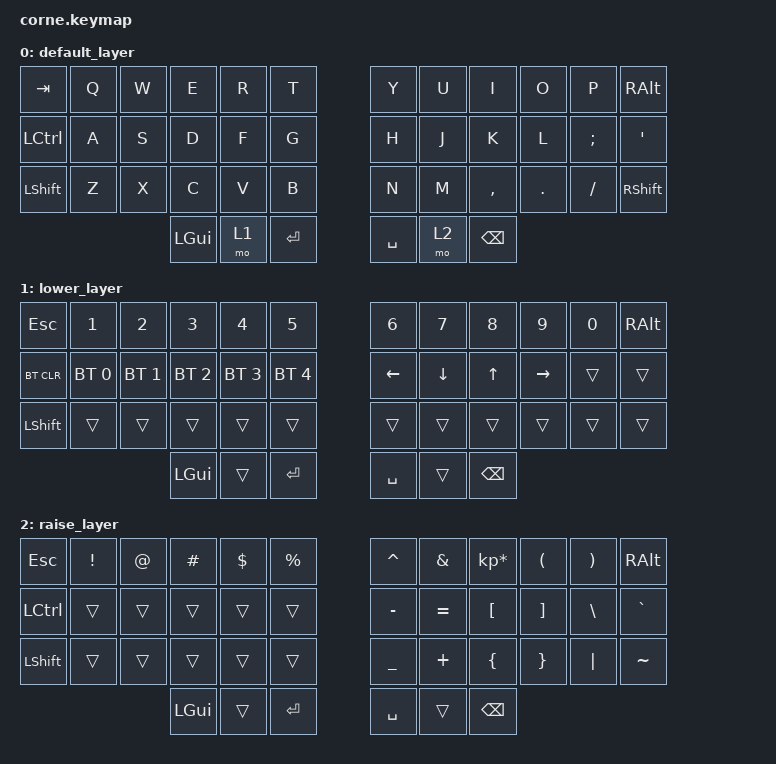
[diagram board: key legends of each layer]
/*
 * Copyright (c) 2020 The ZMK Contributors
 *
 * SPDX-License-Identifier: MIT
 */

#include <behaviors.dtsi>
#include <dt-bindings/zmk/keys.h>
#include <dt-bindings/zmk/bt.h>

/ {
        keymap {
                compatible = "zmk,keymap";

                default_layer {
// -----------------------------------------------------------------------------------------
// |  TAB |  Q  |  W  |  E  |  R  |  T  |   |  Y  |  U   |  I  |  O  |  P  | ALT |
// | CTRL |  A  |  S  |  D  |  F  |  G  |   |  H  |  J   |  K  |  L  |  ;  |  '   |
// | SHFT |  Z  |  X  |  C  |  V  |  B  |   |  N  |  M   |  ,  |  .  |  /  | SHFT  |
//                    | GUI | LWR | ENT |   | SPACE | RSE  | BKSP |
                        bindings = <
   &kp TAB   &kp Q &kp W &kp E &kp R &kp T   &kp Y &kp U  &kp I     &kp O   &kp P    &kp RALT
   &kp LCTRL &kp A &kp S &kp D &kp F &kp G   &kp H &kp J  &kp K     &kp L   &kp SEMI &kp SQT
   &kp LSHFT &kp Z &kp X &kp C &kp V &kp B   &kp N &kp M  &kp COMMA &kp DOT &kp FSLH &kp RSHFT
                  &kp LGUI &mo 1 &kp RET   &kp SPACE &mo 2 &kp BSPC
                        >;
                };
                lower_layer {
// -----------------------------------------------------------------------------------------
// |  ESC |  1  |  2  |  3  |  4  |  5  |   |  6  |  7  |  8  |  9  |  0  | RALT |
// | BTCLR| BT1 | BT2 | BT3 | BT4 | BT5 |   | LFT | DWN |  UP | RGT |     |      |
// | SHFT |     |     |     |     |     |   |     |     |     |     |     |      |
//                    | GUI |     | ENT |   | SPACE |     | BSPC |
                        bindings = <
   &kp ESC    &kp N1       &kp N2       &kp N3       &kp N4       &kp N5         &kp N6   &kp N7   &kp N8 &kp N9    &kp N0 &kp RALT
   &bt BT_CLR &bt BT_SEL 0 &bt BT_SEL 1 &bt BT_SEL 2 &bt BT_SEL 3 &bt BT_SEL 4   &kp LEFT &kp DOWN &kp UP &kp RIGHT &trans &trans
   &kp LSHFT  &trans       &trans       &trans       &trans       &trans         &trans   &trans   &trans &trans    &trans &trans
                          	        &kp LGUI     &trans       &kp RET      &kp SPACE  &trans   &kp BSPC
                        >;
                };

                raise_layer {
// -----------------------------------------------------------------------------------------
// |  ESC |  !  |  @  |  #  |  $  |  %  |   |  ^  |  &  |  *  |  (  |  )  | RALT |
// | CTRL |     |     |     |     |     |   |  -  |  =  |  [  |  ]  |  \  |  `   |
// | SHFT |     |     |     |     |     |   |  _  |  +  |  {  |  }  | "|" |  ~   |
//                    | GUI |     | ENT |   | SPC |     | BSPC |
                        bindings = <
   &kp  ESC  &kp EXCL &kp AT &kp HASH &kp DLLR &kp PRCNT   &kp CARET &kp AMPS  &kp KP_MULTIPLY &kp LPAR &kp RPAR &kp RALT
   &kp LCTRL &trans   &trans &trans   &trans   &trans      &kp MINUS &kp EQUAL &kp LBKT        &kp RBKT &kp BSLH &kp GRAVE
   &kp LSHFT &trans   &trans &trans   &trans   &trans      &kp UNDER &kp PLUS  &kp LBRC        &kp RBRC &kp PIPE &kp TILDE
                    	     &kp LGUI &trans   &kp RET   &kp SPACE   &trans    &kp BSPC
                        >;
                };
        };
};
